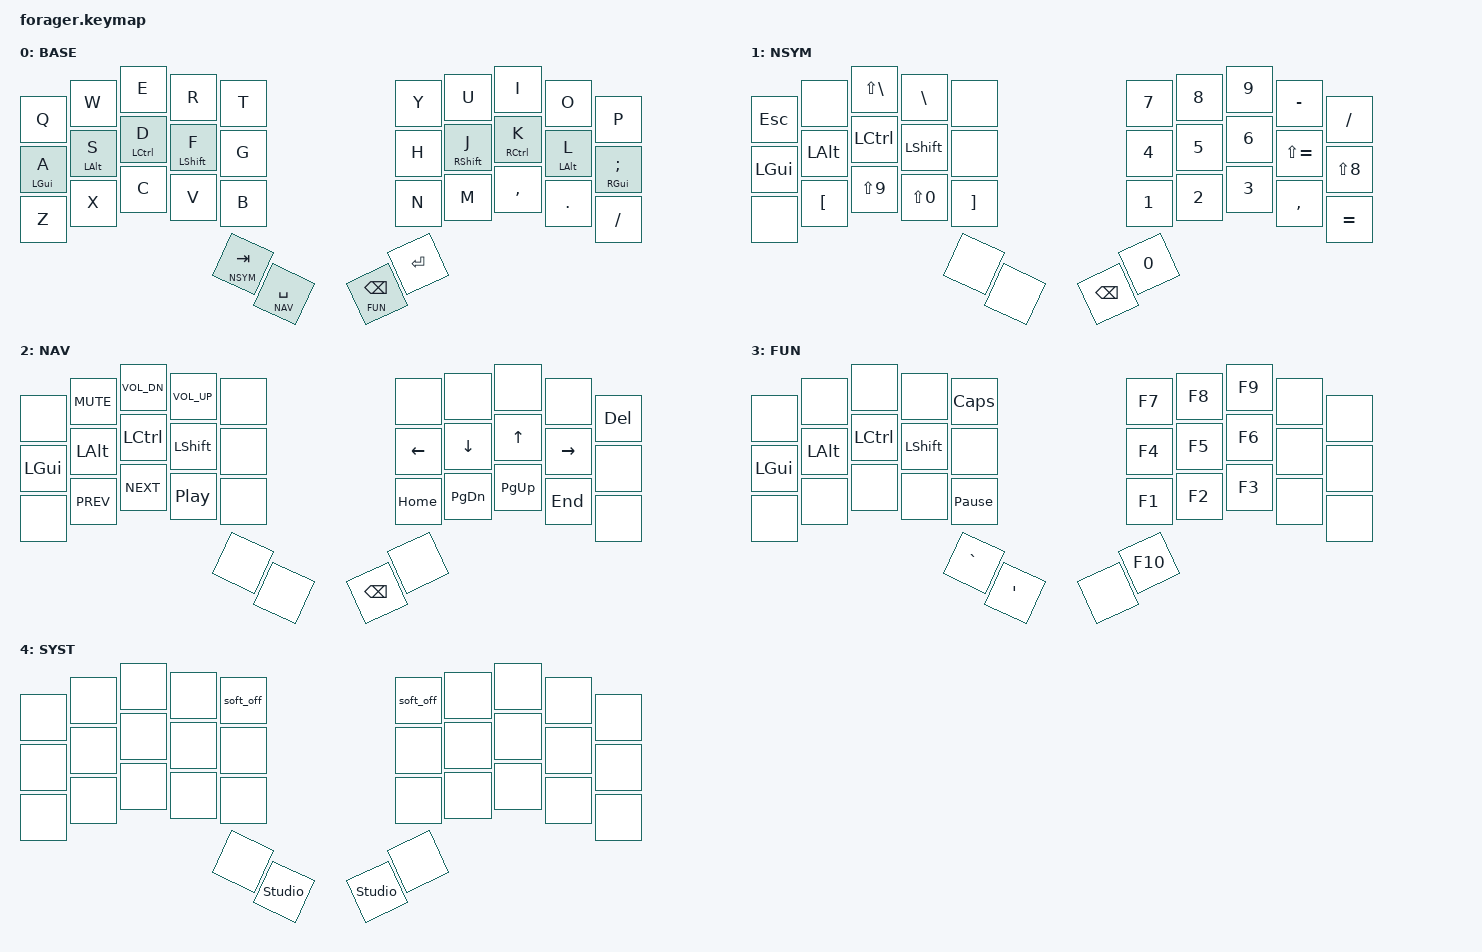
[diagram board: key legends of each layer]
/*
 * Copyright (c) 2020 duckyb
 *
 * SPDX-License-Identifier: MIT
 */

#include <behaviors.dtsi>
#include <dt-bindings/zmk/keys.h>
#include <dt-bindings/zmk/bt.h>
#include <dt-bindings/zmk/outputs.h>

// Layer definitions
#define BASE 0
#define NSYM 1
#define NAV  2
#define FUN  3
#define SYST 4
// -----------------

&sk {
	// don't release mods on other mods presses
	ignore-modifiers;
};

&soft_off {
    hold-time-ms = <5000>; // Only turn off it the key is held for 5 seconds or longer.
};


/ {
	behaviors {
        lt: layer_tap {
			tapping-term-ms = <200>;
			quick-tap-ms = <200>;
        };

		// Enables holding the first mod-tap key
		// by performing a tap-release-hold sequence.
		// To use it: "&qt KEYCODE1 KEYCODE2"
		qt: quick_tap {
			compatible = "zmk,behavior-hold-tap";
			label = "QUICK_TAP";
			#binding-cells = <2>;
			flavor = "balanced";
			tapping-term-ms = <200>;
			quick-tap-ms = <200>;
			bindings = <&kp>, <&kp>;
		};
	};

	macros {
		// sometimes my device thinks a modifier is being held down
		// pressing all modifiers fixes it.
		unstick: unstick {
			label = "ZM_unstick";
			compatible = "zmk,behavior-macro";
			#binding-cells = <0>;
			bindings = <&kp LSHIFT &kp RSHIFT &kp LCTRL &kp RCTRL &kp LALT &kp RALT &kp LGUI &kp RGUI>;
		};
	};

	combos {
		compatible = "zmk,combos";
		combo_capsword {
			timeout-ms = <50>;
			key-positions = <13 16>;
			bindings = <&caps_word>;
		};
		combo_system {
			timeout-ms = <50>;
			key-positions = <0 9>;  // Q + P
			bindings = <&mo SYST>;
		};
	};

	keymap {
		compatible = "zmk,keymap";

		// Layer 0: BASE
		default_layer {
			label = "BASE";
			bindings = <
			&kp Q       &kp W       &kp E        &kp R         &kp T              &kp Y         &kp U          &kp I        &kp O        &kp P
			&qt LGUI A  &qt LALT S  &qt LCTRL D  &qt LSHIFT F  &kp G              &kp H         &qt RSHIFT J   &qt RCTRL K  &qt LALT L   &qt RGUI SEMI
			&kp Z       &kp X       &kp C        &kp V         &kp B              &kp N         &kp M          &kp COMMA    &kp DOT      &kp FSLH
			                                     &lt NSYM TAB  &lt NAV SPACE      &lt FUN BSPC  &kp RETURN
			>;
		};

		// Layer 1: NSYM - Numbers and symbols
		nsym_layer {
			label = "NSYM";
			bindings = <
			&kp ESC     &none       &kp LS(BSLH)  &kp BSLH      &none              &kp N7        &kp N8         &kp N9       &kp MINUS      &kp FSLH
			&kp LGUI    &kp LALT    &kp LCTRL     &kp LSHIFT    &none              &kp N4        &kp N5         &kp N6       &kp LS(EQUAL)  &kp LS(N8)
			&none       &kp LBKT    &kp LS(N9)    &kp LS(N0)    &kp RBKT           &kp N1        &kp N2         &kp N3       &kp COMMA      &kp EQUAL
			                                      &none         &none              &kp BSPC      &kp N0
			>;
		};

		// Layer 2: NAV - Navigation
		nav_layer {
			label = "NAV";
			bindings = <
			&none       &kp C_MUTE  &kp C_VOL_DN  &kp C_VOL_UP  &none              &none         &none          &none        &none         &kp DEL
			&kp LGUI    &kp LALT    &kp LCTRL     &kp LSHIFT    &none              &kp LEFT      &kp DOWN       &kp UP       &kp RIGHT     &none
			&none       &kp C_PREV  &kp C_NEXT    &kp C_PP      &none              &kp HOME      &kp PG_DN      &kp PG_UP    &kp END       &none
			                                      &none         &none              &kp BSPC      &none
			>;
		};

		// Layer 3: FUN - Function keys
		fun_layer {
			label = "FUN";
			bindings = <
			&none       &none       &none         &none         &kp CAPS           &kp F7        &kp F8         &kp F9       &none         &none
			&kp LGUI    &kp LALT    &kp LCTRL     &kp LSHIFT    &none              &kp F4        &kp F5         &kp F6       &none         &none
			&none       &none       &none         &none         &kp PAUSE_BREAK    &kp F1        &kp F2         &kp F3       &none         &none
			                                      &kp GRAVE     &kp SQT            &none         &kp F10
			>;
		};

		// Layer 4: SYST - System controls (Studio unlock, Soft off)
		// Simmetrico su entrambi gli split per facilità di accesso
		syst_layer {
			label = "SYST";
			bindings = <
			&none           &none  &none  &none  &soft_off       &soft_off  &none  &none  &none  &none
			&none           &none  &none  &none  &none           &none             &none  &none  &none  &none
			&none           &none  &none  &none  &none           &none             &none  &none  &none  &none
			                              &none  &studio_unlock  &studio_unlock    &none
			>;
		};
	};
};

&caps_word {
	continue-list = <POUND BKSP DEL MINUS UNDERSCORE>;
};
